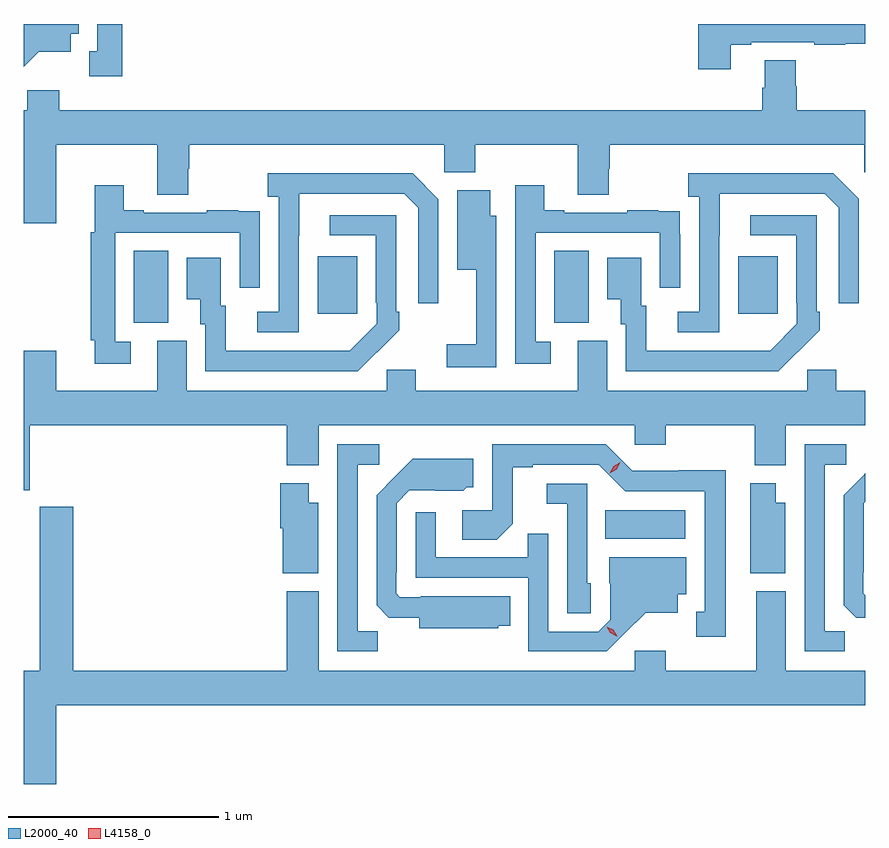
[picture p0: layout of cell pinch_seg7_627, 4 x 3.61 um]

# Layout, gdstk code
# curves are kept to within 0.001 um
import gdstk
lib = gdstk.Library(unit=1e-6, precision=1e-09)
def R(c, l, rs):  # rectangles x0, y0, x1, y1
    for r in rs: c.add(gdstk.rectangle(r[:2], r[2:], *l))
def P(c, l, *ps):  # polygons
    for p in ps: c.add(gdstk.Polygon(p, *l))
L2000_40 = (2000, 40)
L4158_0 = (4158, 0)

pinch_seg7_627 = lib.new_cell('pinch_seg7_627')
R(pinch_seg7_627, L2000_40, [(131.818,1008.068,132.199,1008.202), (129.578,1009.093,129.742,1009.436), (131.576,1009.093,131.74,1009.436), (130.451,1009.137,130.639,1009.411), (132.449,1009.137,132.637,1009.411)])
P(pinch_seg7_627, L2000_40, [(129.125,1010.381),(129.277,1010.381),(129.277,1010.468),(129.316,1010.468),(129.316,1010.514),(129.054,1010.514),(129.054,1010.311)],
  [(132.415,1010.415),(132.511,1010.415),(132.511,1010.427),(132.811,1010.427),(132.811,1010.415),(132.959,1010.415),(132.959,1010.421),(133.054,1010.421),(133.054,1010.514),(132.259,1010.514),(132.259,1010.298),(132.415,1010.298)],
  [(129.523,1010.514),(129.404,1010.514),(129.404,1010.385),(129.365,1010.385),(129.365,1010.265),(129.523,1010.265)],
  [(129.208,1009.94),(129.689,1009.94),(129.689,1009.702),(129.837,1009.702),(129.837,1009.827),(129.842,1009.827),(129.842,1009.94),(131.052,1009.94),(131.052,1009.809),(131.199,1009.809),(131.199,1009.94),(131.687,1009.94),(131.687,1009.702),(131.835,1009.702),(131.835,1009.827),(131.84,1009.827),(131.84,1009.94),(133.05,1009.94),(133.05,1009.809),(133.054,1009.809),(133.054,1010.104),(132.728,1010.104),(132.728,1010.217),(132.723,1010.217),(132.723,1010.342),(132.575,1010.342),(132.575,1010.21),(132.563,1010.21),(132.563,1010.104),(129.224,1010.104),(129.224,1010.2),(129.072,1010.2),(129.072,1010.104),(129.054,1010.104),(129.054,1009.566),(129.208,1009.566)],
  [(132.36,1009.507),(132.361,1009.707),(132.861,1009.707),(132.927,1009.641),(132.927,1009.188),(133.023,1009.188),(133.023,1009.683),(132.902,1009.804),(132.213,1009.804),(132.213,1009.694),(132.264,1009.694),(132.264,1009.146),(132.162,1009.146),(132.162,1009.05),(132.36,1009.05)],
  [(130.362,1009.507),(130.363,1009.707),(130.863,1009.707),(130.929,1009.641),(130.929,1009.188),(131.025,1009.188),(131.025,1009.681),(130.902,1009.804),(130.215,1009.804),(130.215,1009.694),(130.266,1009.694),(130.266,1009.146),(130.164,1009.146),(130.164,1009.05),(130.362,1009.05)],
  [(131.56,1009.005),(131.487,1009.005),(131.487,1009.521),(132.078,1009.521),(132.078,1009.26),(132.174,1009.26),(132.174,1009.514),(132.173,1009.514),(132.173,1009.623),(132.071,1009.623),(132.071,1009.63),(131.923,1009.63),(131.923,1009.617),(131.623,1009.617),(131.623,1009.63),(131.527,1009.63),(131.527,1009.747),(131.391,1009.747),(131.391,1008.9),(131.56,1008.9)],
  [(129.562,1009.005),(129.489,1009.005),(129.489,1009.521),(130.08,1009.521),(130.08,1009.26),(130.176,1009.26),(130.176,1009.514),(130.175,1009.514),(130.175,1009.623),(130.073,1009.623),(130.073,1009.63),(129.925,1009.63),(129.925,1009.617),(129.625,1009.617),(129.625,1009.63),(129.529,1009.63),(129.529,1009.747),(129.392,1009.747),(129.392,1009.524),(129.373,1009.524),(129.373,1009.012),(129.392,1009.012),(129.392,1008.9),(129.562,1008.9)],
  [(131.301,1009.603),(131.272,1009.603),(131.272,1009.723),(131.114,1009.723),(131.114,1009.346),(131.204,1009.346),(131.204,1008.991),(131.064,1008.991),(131.064,1008.882),(131.301,1008.882)],
  [(130.733,1008.955),(130.734,1008.954),(130.839,1009.059),(130.839,1009.147),(130.824,1009.147),(130.824,1009.605),(130.509,1009.605),(130.509,1009.509),(130.728,1009.509),(130.728,1009.189),(130.731,1009.189),(130.731,1009.089),(130.603,1008.961),(130.015,1008.96),(130.015,1009.176),(129.991,1009.176),(129.991,1009.402),(129.83,1009.402),(129.83,1009.205),(129.893,1009.205),(129.893,1009.086),(129.918,1009.086),(129.918,1008.864),(130.642,1008.864)],
  [(132.731,1008.955),(132.732,1008.954),(132.837,1009.059),(132.837,1009.147),(132.822,1009.147),(132.822,1009.605),(132.507,1009.605),(132.507,1009.509),(132.726,1009.509),(132.726,1009.189),(132.729,1009.189),(132.729,1009.089),(132.601,1008.961),(132.013,1008.96),(132.013,1009.176),(131.989,1009.176),(131.989,1009.402),(131.828,1009.402),(131.828,1009.205),(131.891,1009.205),(131.891,1009.086),(131.916,1009.086),(131.916,1008.864),(132.64,1008.864)],
  [(131.827,1009.008),(131.687,1009.008),(131.687,1008.772),(130.918,1008.772),(130.918,1008.87),(130.779,1008.87),(130.779,1008.772),(129.829,1008.772),(129.829,1009.008),(129.689,1009.008),(129.689,1008.772),(129.208,1008.772),(129.208,1008.961),(129.054,1008.961),(129.054,1008.299),(129.082,1008.299),(129.082,1008.608),(130.304,1008.608),(130.304,1008.416),(130.456,1008.416),(130.456,1008.608),(131.958,1008.608),(131.958,1008.515),(132.105,1008.515),(132.105,1008.608),(132.529,1008.608),(132.529,1008.416),(132.676,1008.416),(132.676,1008.608),(133.054,1008.608),(133.054,1008.772),(132.916,1008.772),(132.916,1008.87),(132.777,1008.87),(132.777,1008.772),(131.827,1008.772)],
  [(132.391,1008.392),(132.168,1008.392),(132.168,1008.39),(131.946,1008.39),(131.82,1008.516),(131.28,1008.516),(131.28,1008.204),(131.139,1008.204),(131.139,1008.064),(131.303,1008.064),(131.379,1008.14),(131.379,1008.408),(131.473,1008.408),(131.473,1008.42),(131.787,1008.42),(131.913,1008.294),(132.29,1008.294),(132.29,1007.721),(132.251,1007.721),(132.251,1007.601),(132.391,1007.601)],
  [(130.737,1007.627),(130.641,1007.627),(130.641,1008.42),(130.744,1008.42),(130.744,1008.516),(130.545,1008.516),(130.545,1007.532),(130.737,1007.532)],
  [(132.957,1007.627),(132.861,1007.627),(132.861,1008.42),(132.964,1008.42),(132.964,1008.516),(132.765,1008.516),(132.765,1007.532),(132.957,1007.532)],
  [(131.31,1007.654),(131.366,1007.654),(131.366,1007.794),(130.942,1007.794),(130.942,1007.79),(130.842,1007.79),(130.824,1007.808),(130.824,1007.908),(130.827,1007.908),(130.827,1008.237),(130.887,1008.297),(131.144,1008.296),(131.16,1008.312),(131.191,1008.312),(131.191,1008.448),(130.903,1008.448),(130.731,1008.274),(130.731,1007.752),(130.79,1007.693),(130.934,1007.693),(130.934,1007.642),(131.31,1007.642)],
  [(133.054,1007.798),(133.044,1007.808),(133.044,1007.908),(133.047,1007.908),(133.047,1008.237),(133.054,1008.244),(133.054,1008.378),(133.043,1008.367),(132.951,1008.274),(132.951,1007.752),(133.01,1007.693),(133.054,1007.693)],
  [(130.453,1008.238),(130.408,1008.238),(130.408,1008.331),(130.274,1008.331),(130.274,1008.117),(130.286,1008.117),(130.286,1007.903),(130.453,1007.903)],
  [(132.673,1008.238),(132.628,1008.238),(132.628,1008.331),(132.506,1008.331),(132.506,1007.903),(132.673,1007.903)],
  [(131.748,1007.856),(131.733,1007.856),(131.733,1008.33),(131.541,1008.33),(131.541,1008.233),(131.637,1008.233),(131.637,1007.713),(131.748,1007.713)],
  [(129.208,1007.276),(133.054,1007.276),(133.054,1007.44),(132.676,1007.44),(132.676,1007.818),(132.536,1007.818),(132.536,1007.44),(132.105,1007.44),(132.105,1007.536),(131.958,1007.536),(131.958,1007.44),(130.456,1007.44),(130.456,1007.818),(130.304,1007.818),(130.304,1007.44),(129.29,1007.44),(129.29,1008.22),(129.13,1008.22),(129.13,1007.44),(129.054,1007.44),(129.054,1006.902),(129.208,1006.902)],
  [(131.908,1007.615),(132.011,1007.717),(132.163,1007.717),(132.163,1007.804),(132.202,1007.804),(132.202,1007.98),(131.837,1007.98),(131.837,1007.856),(131.841,1007.856),(131.841,1007.682),(131.784,1007.625),(131.547,1007.625),(131.547,1008.092),(131.449,1008.092),(131.449,1007.979),(131.013,1007.979),(131.013,1008.193),(130.917,1008.193),(130.917,1007.883),(131.451,1007.883),(131.451,1007.532),(131.824,1007.532)])
P(pinch_seg7_627, L4158_0, [(131.84,1008.38),(131.84,1008.38),(131.858,1008.413),(131.889,1008.432),(131.89,1008.432),(131.89,1008.432),(131.872,1008.399),(131.84,1008.38)],
  [(131.873,1007.605),(131.842,1007.62),(131.825,1007.649),(131.825,1007.649),(131.825,1007.649),(131.856,1007.635),(131.874,1007.605),(131.874,1007.605)])

lib.write_gds('pinch_seg7_627.gds')
